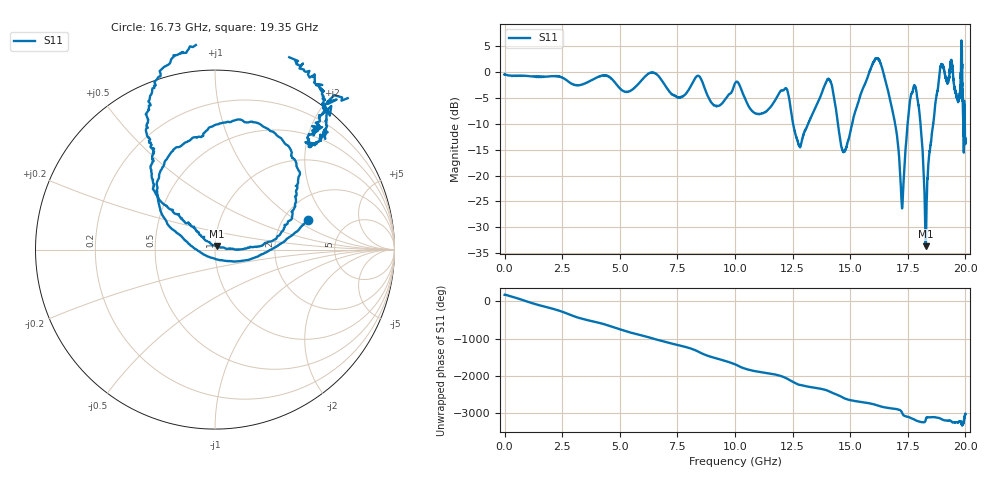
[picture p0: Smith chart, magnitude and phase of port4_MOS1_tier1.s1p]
! Created with skrf 1.8.0 (http://scikit-rf.org).
# GHz S RI R 50.0
!freq ReS11 ImS11
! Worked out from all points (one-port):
!   10001 points, 1 MHz to 20 GHz, reference 50 ohm
!   lowest |S11| = -33.6 dB at 18.27 GHz (marker M1), VSWR 1.04, Z = 51.1 + j1.81 ohm
!   |S11| at or under -10 dB: 12.52 GHz to 13.17 GHz (652.1 MHz wide, 5.08 % of centre); 14.47 GHz to 15.09 GHz (617.9 MHz wide, 4.18 % of centre); 18.05 GHz to 18.6 GHz (550.1 MHz wide, 3 % of centre) (the widest 3 of 10)
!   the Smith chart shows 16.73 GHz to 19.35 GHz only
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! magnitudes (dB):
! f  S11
! 1 MHz  -0.4
! 2.501 GHz  -1.1
! 5.001 GHz  -3.2
! 6.441 GHz  -0.1
! 7.501 GHz  -4.8
! 8.407 GHz  -0.7
! 9.263 GHz  -6.6
! 10 GHz  -2.2
! 10.98 GHz  -8.1
! 12.2 GHz  -3.2
! 12.5 GHz  -9.5
! 12.84 GHz  -14.4
! 14.07 GHz  -1.4
! 14.67 GHz  -15.1
! 15 GHz  -11.7
! 16.15 GHz  2.6
! 16.88 GHz  -8.5
! 17.24 GHz  -25.8
! 17.5 GHz  -9.6
! 17.69 GHz  -4.0
! 17.87 GHz  -3.7
! 18.06 GHz  -10.7
! 18.27 GHz  -33.6
! 18.97 GHz  1.5
! 19.4 GHz  2.1
! 19.66 GHz  -5.0
! 19.79 GHz  -1.1
! 20 GHz  -13.3
